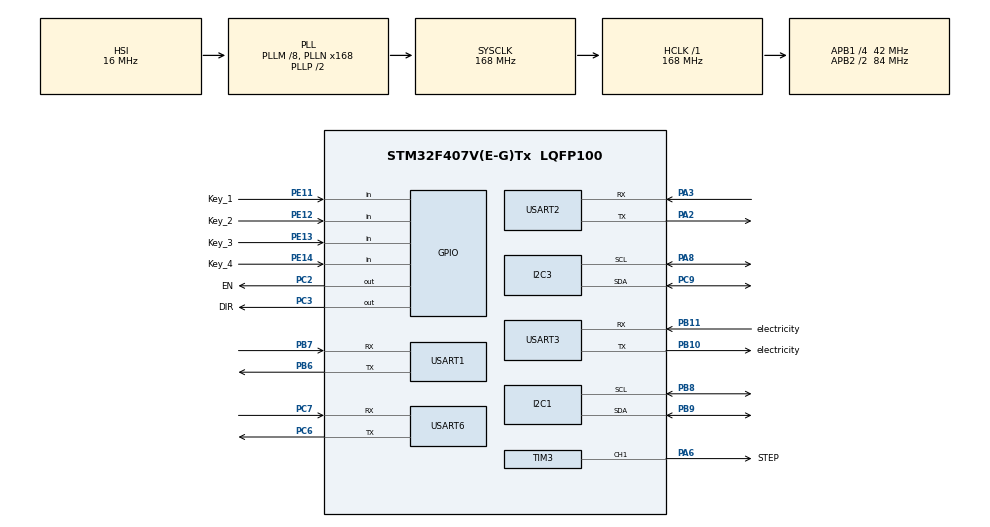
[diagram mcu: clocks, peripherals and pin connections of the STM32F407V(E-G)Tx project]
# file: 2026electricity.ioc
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Dma.Request0=USART1_RX
Dma.Request1=USART1_TX
Dma.Request2=USART2_TX
Dma.Request3=USART2_RX
Dma.Request4=USART3_RX
Dma.Request5=USART3_TX
Dma.Request6=USART6_RX
Dma.Request7=USART6_TX
Dma.USART1_RX.0.Direction=DMA_PERIPH_TO_MEMORY
Dma.USART1_RX.0.FIFOMode=DMA_FIFOMODE_DISABLE
Dma.USART1_RX.0.Instance=DMA2_Stream2
Dma.USART1_RX.0.MemDataAlignment=DMA_MDATAALIGN_BYTE
Dma.USART1_RX.0.MemInc=DMA_MINC_ENABLE
Dma.USART1_RX.0.Mode=DMA_CIRCULAR
Dma.USART1_RX.0.PeriphDataAlignment=DMA_PDATAALIGN_BYTE
Dma.USART1_RX.0.PeriphInc=DMA_PINC_DISABLE
Dma.USART1_RX.0.Priority=DMA_PRIORITY_LOW
Dma.USART1_TX.1.Direction=DMA_MEMORY_TO_PERIPH
Dma.USART1_TX.1.FIFOMode=DMA_FIFOMODE_DISABLE
Dma.USART1_TX.1.Instance=DMA2_Stream7
Dma.USART1_TX.1.MemDataAlignment=DMA_MDATAALIGN_BYTE
Dma.USART1_TX.1.MemInc=DMA_MINC_ENABLE
Dma.USART1_TX.1.Mode=DMA_NORMAL
Dma.USART1_TX.1.PeriphDataAlignment=DMA_PDATAALIGN_BYTE
Dma.USART1_TX.1.PeriphInc=DMA_PINC_DISABLE
Dma.USART1_TX.1.Priority=DMA_PRIORITY_LOW
Dma.USART2_RX.3.Direction=DMA_PERIPH_TO_MEMORY
Dma.USART2_RX.3.FIFOMode=DMA_FIFOMODE_DISABLE
Dma.USART2_RX.3.Instance=DMA1_Stream5
Dma.USART2_RX.3.MemDataAlignment=DMA_MDATAALIGN_BYTE
Dma.USART2_RX.3.MemInc=DMA_MINC_ENABLE
Dma.USART2_RX.3.Mode=DMA_CIRCULAR
Dma.USART2_RX.3.PeriphDataAlignment=DMA_PDATAALIGN_BYTE
Dma.USART2_RX.3.PeriphInc=DMA_PINC_DISABLE
Dma.USART2_RX.3.Priority=DMA_PRIORITY_LOW
Dma.USART2_TX.2.Direction=DMA_MEMORY_TO_PERIPH
Dma.USART2_TX.2.FIFOMode=DMA_FIFOMODE_DISABLE
Dma.USART2_TX.2.Instance=DMA1_Stream6
Dma.USART2_TX.2.MemDataAlignment=DMA_MDATAALIGN_BYTE
Dma.USART2_TX.2.MemInc=DMA_MINC_ENABLE
Dma.USART2_TX.2.Mode=DMA_NORMAL
Dma.USART2_TX.2.PeriphDataAlignment=DMA_PDATAALIGN_BYTE
Dma.USART2_TX.2.PeriphInc=DMA_PINC_DISABLE
Dma.USART2_TX.2.Priority=DMA_PRIORITY_LOW
Dma.USART3_RX.4.Direction=DMA_PERIPH_TO_MEMORY
Dma.USART3_RX.4.FIFOMode=DMA_FIFOMODE_DISABLE
Dma.USART3_RX.4.Instance=DMA1_Stream1
Dma.USART3_RX.4.MemDataAlignment=DMA_MDATAALIGN_BYTE
Dma.USART3_RX.4.MemInc=DMA_MINC_ENABLE
Dma.USART3_RX.4.Mode=DMA_CIRCULAR
Dma.USART3_RX.4.PeriphDataAlignment=DMA_PDATAALIGN_BYTE
Dma.USART3_RX.4.PeriphInc=DMA_PINC_DISABLE
Dma.USART3_RX.4.Priority=DMA_PRIORITY_LOW
Dma.USART3_TX.5.Direction=DMA_MEMORY_TO_PERIPH
Dma.USART3_TX.5.FIFOMode=DMA_FIFOMODE_DISABLE
Dma.USART3_TX.5.Instance=DMA1_Stream3
Dma.USART3_TX.5.MemDataAlignment=DMA_MDATAALIGN_BYTE
Dma.USART3_TX.5.MemInc=DMA_MINC_ENABLE
Dma.USART3_TX.5.Mode=DMA_NORMAL
Dma.USART3_TX.5.PeriphDataAlignment=DMA_PDATAALIGN_BYTE
Dma.USART3_TX.5.PeriphInc=DMA_PINC_DISABLE
Dma.USART3_TX.5.Priority=DMA_PRIORITY_LOW
Dma.USART6_RX.6.Direction=DMA_PERIPH_TO_MEMORY
Dma.USART6_RX.6.FIFOMode=DMA_FIFOMODE_DISABLE
Dma.USART6_RX.6.Instance=DMA2_Stream1
Dma.USART6_RX.6.MemDataAlignment=DMA_MDATAALIGN_BYTE
Dma.USART6_RX.6.MemInc=DMA_MINC_ENABLE
Dma.USART6_RX.6.Mode=DMA_CIRCULAR
Dma.USART6_RX.6.PeriphDataAlignment=DMA_PDATAALIGN_BYTE
Dma.USART6_RX.6.PeriphInc=DMA_PINC_DISABLE
Dma.USART6_RX.6.Priority=DMA_PRIORITY_LOW
Dma.USART6_TX.7.Direction=DMA_MEMORY_TO_PERIPH
Dma.USART6_TX.7.FIFOMode=DMA_FIFOMODE_DISABLE
Dma.USART6_TX.7.Instance=DMA2_Stream6
Dma.USART6_TX.7.MemDataAlignment=DMA_MDATAALIGN_BYTE
Dma.USART6_TX.7.MemInc=DMA_MINC_ENABLE
Dma.USART6_TX.7.Mode=DMA_NORMAL
Dma.USART6_TX.7.PeriphDataAlignment=DMA_PDATAALIGN_BYTE
Dma.USART6_TX.7.PeriphInc=DMA_PINC_DISABLE
Dma.USART6_TX.7.Priority=DMA_PRIORITY_LOW
Mcu.Family=STM32F4
Mcu.Name=STM32F407V(E-G)Tx
Mcu.Package=LQFP100
NVIC.DMA1_Stream1_IRQn=true\:0\:0\:false\:false\:true\:false\:true\:true
NVIC.DMA1_Stream3_IRQn=true\:0\:0\:false\:false\:true\:false\:true\:true
NVIC.DMA1_Stream5_IRQn=true\:0\:0\:false\:false\:true\:false\:true\:true
NVIC.DMA1_Stream6_IRQn=true\:0\:0\:false\:false\:true\:false\:true\:true
NVIC.DMA2_Stream1_IRQn=true\:0\:0\:false\:false\:true\:false\:true\:true
NVIC.DMA2_Stream2_IRQn=true\:0\:0\:false\:false\:true\:false\:true\:true
NVIC.DMA2_Stream6_IRQn=true\:0\:0\:false\:false\:true\:false\:true\:true
NVIC.DMA2_Stream7_IRQn=true\:0\:0\:false\:false\:true\:false\:true\:true
NVIC.PriorityGroup=NVIC_PRIORITYGROUP_4
NVIC.USART1_IRQn=true\:0\:0\:false\:false\:true\:true\:true\:true
NVIC.USART2_IRQn=true\:0\:0\:false\:false\:true\:true\:true\:true
NVIC.USART3_IRQn=true\:0\:0\:false\:false\:true\:true\:true\:true
NVIC.USART6_IRQn=true\:0\:0\:false\:false\:true\:true\:true\:true
PA13.Mode=Serial_Wire
PA13.Signal=SYS_JTMS-SWDIO
PA14.Mode=Serial_Wire
PA14.Signal=SYS_JTCK-SWCLK
PA2.Mode=Asynchronous
PA2.Signal=USART2_TX
PA3.Mode=Asynchronous
PA3.Signal=USART2_RX
PA6.GPIO_Label=STEP
PA6.GPIO_Speed=GPIO_SPEED_FREQ_HIGH
PA6.Signal=S_TIM3_CH1
PA8.Mode=I2C
PA8.Signal=I2C3_SCL
PB10.GPIO_Label=electricity
PB10.Mode=Asynchronous
PB10.Signal=USART3_TX
PB11.GPIO_Label=electricity
PB11.Mode=Asynchronous
PB11.Signal=USART3_RX
PB6.Mode=Asynchronous
PB6.Signal=USART1_TX
PB7.Mode=Asynchronous
PB7.Signal=USART1_RX
PB8.Mode=I2C
PB8.Signal=I2C1_SCL
PB9.Mode=I2C
PB9.Signal=I2C1_SDA
PC2.GPIO_Label=EN
PC2.Signal=GPIO_Output
PC3.GPIO_Label=DIR
PC3.Signal=GPIO_Output
PC6.Mode=Asynchronous
PC6.Signal=USART6_TX
PC7.Mode=Asynchronous
PC7.Signal=USART6_RX
PC9.Mode=I2C
PC9.Signal=I2C3_SDA
PE11.GPIO_Label=Key_1
PE11.GPIO_Mode=GPIO_MODE_INPUT
PE11.GPIO_PuPd=GPIO_PULLUP
PE11.Signal=GPIO_Input
PE12.GPIO_Label=Key_2
PE12.GPIO_Mode=GPIO_MODE_INPUT
PE12.GPIO_PuPd=GPIO_PULLUP
PE12.Signal=GPIO_Input
PE13.GPIO_Label=Key_3
PE13.GPIO_PuPd=GPIO_PULLUP
PE13.Signal=GPIO_Input
PE14.GPIO_Label=Key_4
PE14.GPIO_PuPd=GPIO_PULLUP
PE14.Signal=GPIO_Input
ProjectManager.HeapSize=0x200
ProjectManager.StackSize=0x400
ProjectManager.TargetToolchain=CMake
RCC.48MHZClocksFreq_Value=84000000
RCC.AHBFreq_Value=168000000
RCC.APB1CLKDivider=RCC_HCLK_DIV4
RCC.APB1Freq_Value=42000000
RCC.APB1TimFreq_Value=84000000
RCC.APB2CLKDivider=RCC_HCLK_DIV2
RCC.APB2Freq_Value=84000000
RCC.APB2TimFreq_Value=168000000
RCC.CortexFreq_Value=168000000
RCC.HCLKFreq_Value=168000000
RCC.HSE_VALUE=25000000
RCC.HSI_VALUE=16000000
RCC.LSE_VALUE=32768
RCC.PLLM=8
RCC.PLLN=168
RCC.SYSCLKFreq_VALUE=168000000
RCC.SYSCLKSource=RCC_SYSCLKSOURCE_PLLCLK
RCC.VCOOutputFreq_Value=336000000
SH.S_TIM3_CH1.0=TIM3_CH1,PWM Generation1 CH1
TIM3.Channel-PWM\ Generation1\ CH1=TIM_CHANNEL_1
TIM3.Period=100-1
TIM3.Prescaler=168-1
TIM3.Pulse-PWM\ Generation1\ CH1=500
USART1.VirtualMode=VM_ASYNC
USART2.VirtualMode=VM_ASYNC
USART3.VirtualMode=VM_ASYNC
USART6.VirtualMode=VM_ASYNC
VP_TIM3_VS_ClockSourceINT.Mode=Internal
board=custom

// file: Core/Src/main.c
/* USER CODE BEGIN Header */
/**
  ******************************************************************************
  * @file           : main.c
  * @brief          : Main program body
  ******************************************************************************
  * @attention
  *
  * Copyright (c) 2026 STMicroelectronics.
  * All rights reserved.
  *
  * This software is licensed under terms that can be found in the LICENSE file
  * in the root directory of this software component.
  * If no LICENSE file comes with this software, it is provided AS-IS.
  *
  ******************************************************************************
  */
/* USER CODE END Header */
#include "main.h"
#include "dma.h"
#include "i2c.h"
#include "tim.h"
#include "usart.h"
#include "gpio.h"

/* USER CODE BEGIN Includes */

#include "bsp_bluetooth.h"
#include "bsp_uart_dma.h"
#include "ball_observation_protocol.h"
#include "chassis_feedforward_protocol.h"
#include "pitch_axis_self_test.h"
#include "pitch_axis_self_test_telemetry.h"
#include "pitch_axis_velocity_test.h"
#include "pitch_axis_velocity_test_telemetry.h"
#include "pitch_axis_vision_control.h"
#include "pitch_axis_vision_telemetry.h"
#include "pitch_pid_debug.h"
#include "pitch_status_display.h"
#include "pitch_task_controller.h"
#include "x42s_driver.h"

#include <stdio.h>
#include <string.h>

/* USER CODE END Includes */

/* USER CODE BEGIN PV */

static BspBluetooth bluetooth_port;
static volatile BspBluetoothResult bluetooth_init_result;
static volatile BspBluetoothResult bluetooth_start_result;
static BspUartDmaPort vision_port;
static BspUartDmaResult vision_init_result;
static BspUartDmaResult vision_start_result;
static BallObservationParser vision_parser;
static BspUartDmaPort chassis_port;
static BspUartDmaResult chassis_init_result;
static BspUartDmaResult chassis_start_result;
static ChassisFeedforwardParser chassis_parser;
static ChassisFeedforwardSample chassis_sample;
static ChassisFeedforwardEstimate chassis_estimate;
static uint32_t chassis_last_report_ms;
static PitchAxisVisionControl pitch_vision_control;
static PitchAxisVisionTelemetry pitch_vision_telemetry;
static bool pitch_vision_initialized;
static X42sDriver pitch_x42;
static X42sDriverResult pitch_x42_init_result;
static X42sDriverResult pitch_x42_start_result = X42S_DRIVER_NOT_STARTED;
static PitchAxisSelfTest pitch_self_test;
static PitchAxisSelfTestResult pitch_self_test_init_result =
    PITCH_AXIS_SELF_TEST_NOT_READY;
static PitchAxisSelfTestResult pitch_self_test_start_result =
    PITCH_AXIS_SELF_TEST_NOT_READY;
static PitchAxisSelfTestTelemetry pitch_self_test_telemetry;
static PitchAxisVelocityTest pitch_velocity_test;
static PitchAxisVelocityTestTelemetry pitch_velocity_test_telemetry;
static bool pitch_velocity_test_initialized;
static PitchPidDebug pitch_pid_debug;
static bool pitch_pid_debug_initialized;
static PitchTaskController pitch_task_controller;
static bool pitch_task_controller_initialized;
static PitchStatusDisplay pitch_status_display;
static bool pitch_status_display_initialized;
static const PitchAxisVelocityTestConfig pitch_velocity_test_config = {
    .address = X42S_DEFAULT_ADDRESS,
    .positive_direction = 0U,
    .negative_direction = 1U,
    .speed_rpm = 10U,
    /* ZDT defines acc=0 as direct start. Closed-loop braking needs the
     * velocity reversal to reach the motor without an extra ramp. */
    .acceleration = 0U,
    .run_ms = 300U,
    .synchronize = false,
    .debounce_ms = 20U,
    .automatic_max_speed_rpm = 120U,
    /* The final self-test position is the relative mechanical zero. Direction
     * 0 increased the raw position in the measured key test. */
    .automatic_position_tracking_enabled = true,
    .automatic_direction0_increases_raw = true,
    /* Estimated from 65536 raw/rev and the measured 2 mm screw lead. */
    .automatic_position_raw_per_mm = 32768U,
    .automatic_tilt_scale_um_per_outer_rpm = 230U,
    .automatic_tilt_limit_um = 3900U,
    .automatic_position_deadband_um = 80U,
    .automatic_position_slow_zone_um = 600U,
    .automatic_position_min_speed_rpm = 3U,
    .automatic_position_poll_period_ms = 20U,
    .automatic_decision_timeout_ms = 500U,
    /* Hold the last accepted target briefly on a bad frame; continuous loss
     * still disarms and stops after the grace period. */
    .automatic_vision_loss_grace_ms = 1200U,
    .automatic_edge_recovery_enabled = false,
    .automatic_edge_recovery_speed_rpm = 20U,
    /* Stop and acknowledge every pulse, then retry until vision returns. */
    .automatic_edge_recovery_max_ms = 1500U,
    /* The operator owns stop/escape handling during this full-auto trial. */
    .automatic_motion_budget_ms = 0U
};
static const PitchAxisVisionConfig pitch_vision_config = {
    /* Measured after locking the MaixCAM pipe geometry with the R control. */
    .target_position_0_1mm = -50,
    .minimum_safe_position_0_1mm = -1250,
    .maximum_safe_position_0_1mm = 1250,
    .edge_recovery_margin_0_1mm = 400,
    .deadband_0_1mm = 20,
    .velocity_deadband_0_1mm_s = 50,
    /* The camera must mark a detection valid, then this second gate rejects
     * weak detections before they can become an EMM command candidate. */
    .minimum_confidence_permille = 350U,
    .maximum_observation_age_ms = 150U,
    /* 30 FPS vision produces a new observation about every 33 ms. A 30 ms
     * service gate consumes each new frame without reusing old data. */
    .control_period_ms = 30U,
    .minimum_speed_rpm = 1U,
    .maximum_speed_rpm = 30U,
    .kp_rpm_per_mm = 0.40f,
    .ki_rpm_per_mm_s = 0.0f,
    .kd_rpm_per_mm_s = 0.10f,
    .integral_limit_rpm = 0.0f,
    .integral_separation_band_0_1mm = 250,
    /* Begin braking inside 30 mm; 1 RPM was too weak to overcome friction. */
    .approach_band_0_1mm = 300,
    .approach_speed_limit_rpm = 6U,
    .velocity_filter_alpha = 0.25f,
    .positive_error_uses_positive_direction = true,
    /* Chassis feedforward is present but locked at zero until the
     * acceleration sign and pitch response are measured on the real car. */
    .feedforward_enabled = true,
    .feedforward_sign = 1,
    .feedforward_gain_rpm_per_mm_s2 = 0.0f,
    .feedforward_limit_rpm = 5.0f,
    .feedforward_deadband_mm_s2 = 80.0f
};
static const PitchTaskControllerConfig pitch_task_config = {
    /* MaixCAM reports the measured pipe centre at about -5.0 mm. */
    .center_position_0_1mm = -50,
    /* Requirement 3: O -> +5 cm -> -5 cm. */
    .task3_offset_0_1mm = 450U,
    .task3_tolerance_0_1mm = 100U,
    /* Do not reverse while the ball is merely crossing the target window. */
    .task3_velocity_limit_0_1mm_s = 100U,
    .task3_turnaround_dwell_ms = 100U,
    .position_hold_tilt_limit_um = 3900U,
    .task3_tilt_limit_um = 4200U,
    .button_debounce_ms = 20U,
    .task3_pid_profiles = {
        {
            .kp_rpm_per_mm = 0.35f,
            .ki_rpm_per_mm_s = 0.020f,
            .kd_rpm_per_mm_s = 0.120f,
            .integral_limit_rpm = 3.0f,
            .integral_separation_band_0_1mm = 300,
            .velocity_filter_alpha = 0.25f,
            .approach_band_0_1mm = 800,
            .approach_speed_limit_rpm = 8U,
            .maximum_speed_rpm = 16U,
            .task3_tilt_limit_um = 4000U
        },
        {
            .kp_rpm_per_mm = 0.35f,
            .ki_rpm_per_mm_s = 0.020f,
            .kd_rpm_per_mm_s = 0.120f,
            .integral_limit_rpm = 3.0f,
            .integral_separation_band_0_1mm = 300,
            .velocity_filter_alpha = 0.25f,
            .approach_band_0_1mm = 600,
            .approach_speed_limit_rpm = 10U,
            .maximum_speed_rpm = 18U,
            .task3_tilt_limit_um = 4200U
        },
        {
            .kp_rpm_per_mm = 0.40f,
            .ki_rpm_per_mm_s = 0.015f,
            .kd_rpm_per_mm_s = 0.100f,
            .integral_limit_rpm = 2.5f,
            .integral_separation_band_0_1mm = 350,
            .velocity_filter_alpha = 0.30f,
            .approach_band_0_1mm = 450,
            .approach_speed_limit_rpm = 12U,
            .maximum_speed_rpm = 20U,
            .task3_tilt_limit_um = 4400U
        }
    }
};

static bool PitchFeedforwardTaskEnabled(PitchTaskId task)
{
    return (task == PITCH_TASK_4) ||
           (task == PITCH_TASK_5) ||
           (task == PITCH_TASK_6);
}

static void PitchFeedforward_Report(
    uint32_t now_ms,
    const PitchTaskControllerReport *task_report)
{
    char text[220];
    PitchAxisVisionReport vision_report;
    bool task_enabled = (task_report != NULL) &&
        PitchFeedforwardTaskEnabled(task_report->selected_task);
    bool fresh = ChassisFeedforward_IsFresh(&chassis_sample, now_ms);
    bool input_valid = task_enabled && fresh && chassis_estimate.valid &&
        ((chassis_sample.flags &
          CHASSIS_FEEDFORWARD_FLAG_COMMAND_VALID) != 0U);
    bool ff_valid = PitchAxisVisionControl_GetReport(
        &pitch_vision_control, &vision_report) &&
        vision_report.feedforward_valid;

    if ((uint32_t)(now_ms - chassis_last_report_ms) < 500U)
    {
        return;
    }
    chassis_last_report_ms = now_ms;
    (void)snprintf(
        text,
        sizeof(text),
        "PITCH_FF,task=%u,gate=%u,input=%u,ff_valid=%u,fresh=%u,flags=0x%04X,frames=%lu,seq=%u,cmd=%d,imu=%d,est=%d,est_valid=%d,crc=%lu,fmt=%lu\r\n",
        (unsigned int)((task_report != NULL) ? task_report->selected_task : 0U),
        task_enabled ? 1U : 0U,
        input_valid ? 1U : 0U,
        ff_valid ? 1U : 0U,
        fresh ? 1U : 0U,
        (unsigned int)chassis_sample.flags,
        (unsigned long)chassis_parser.accepted_frame_count,
        (unsigned int)chassis_sample.sequence,
        (int)chassis_sample.command_accel_mm_s2,
        (int)chassis_sample.imu_accel_mm_s2,
        (int)chassis_estimate.estimated_accel_mm_s2,
        (int)chassis_estimate.valid,
        (unsigned long)chassis_parser.crc_error_count,
        (unsigned long)chassis_parser.format_error_count);
    (void)BspBluetooth_WriteString(&bluetooth_port, text);
}

/* USER CODE END PV */

void SystemClock_Config(void);

int main(void)
{

  /* MCU Configuration--------------------------------------------------------*/

  /* Reset of all peripherals, Initializes the Flash interface and the Systick. */
  HAL_Init();

  /* Configure the system clock */
  SystemClock_Config();

  /* Initialize all configured peripherals */
  MX_GPIO_Init();
  MX_DMA_Init();
  MX_I2C1_Init();
  MX_I2C3_Init();
  MX_TIM3_Init();
  MX_USART1_UART_Init();
  MX_USART2_UART_Init();
  MX_USART3_UART_Init();
  MX_USART6_UART_Init();
  /* USER CODE BEGIN 2 */

  bluetooth_init_result = BspBluetooth_Init(&bluetooth_port, &huart1);
  if (bluetooth_init_result == BSP_BLUETOOTH_OK)
  {
    bluetooth_start_result = BspBluetooth_Start(&bluetooth_port);
    if (bluetooth_start_result == BSP_BLUETOOTH_OK)
    {
      (void)BspBluetooth_WriteString(&bluetooth_port, "BT_DMA_READY\r\n");
    }
  }

  vision_init_result = BspUartDma_Init(&vision_port, &huart6);
  if (vision_init_result == BSP_UART_DMA_OK)
  {
    vision_start_result = BspUartDma_Start(&vision_port);
  }
  BallObservationParser_Init(&vision_parser);
  pitch_vision_initialized = PitchAxisVisionControl_Init(
      &pitch_vision_control,
      &pitch_vision_config,
      HAL_GetTick());
  if ((vision_init_result == BSP_UART_DMA_OK) &&
      (vision_start_result == BSP_UART_DMA_OK) &&
      pitch_vision_initialized)
  {
    (void)PitchAxisVisionTelemetry_Init(
        &pitch_vision_telemetry,
        &bluetooth_port,
        &vision_port,
        &vision_parser,
        &pitch_vision_control,
        HAL_GetTick());
    (void)BspBluetooth_WriteString(&bluetooth_port, "VISION_UART_DMA_READY\r\n");
  }
  else
  {
    (void)BspBluetooth_WriteString(&bluetooth_port, "VISION_INIT_ERROR\r\n");
  }

  /* USART2 is the one-way master-to-pitch link. Its RX DMA is kept separate
   * from MaixCAM USART6 and X42S USART3, so a bad chassis frame cannot block
   * vision reception or motor commands. */
  chassis_init_result = BspUartDma_Init(&chassis_port, &huart2);
  if (chassis_init_result == BSP_UART_DMA_OK)
  {
    chassis_start_result = BspUartDma_Start(&chassis_port);
  }
  ChassisFeedforwardParser_Init(&chassis_parser);
  if ((chassis_init_result == BSP_UART_DMA_OK) &&
      (chassis_start_result == BSP_UART_DMA_OK))
  {
    (void)BspBluetooth_WriteString(&bluetooth_port, "CHASSIS_UART_DMA_READY\r\n");
  }
  else
  {
    (void)BspBluetooth_WriteString(&bluetooth_port, "CHASSIS_UART_DMA_ERROR\r\n");
  }

  pitch_x42_init_result = X42sDriver_Init(&pitch_x42, &huart3);
  if (pitch_x42_init_result == X42S_DRIVER_OK)
  {
    pitch_x42_start_result = X42sDriver_Start(&pitch_x42);
  }

  pitch_velocity_test_initialized = PitchAxisVelocityTest_Init(
      &pitch_velocity_test,
      &pitch_x42,
      &pitch_velocity_test_config,
      HAL_GetTick());
  if (pitch_velocity_test_initialized)
  {
    (void)PitchAxisVelocityTestTelemetry_Init(
        &pitch_velocity_test_telemetry,
        &pitch_velocity_test,
        &bluetooth_port,
        HAL_GetTick());
  }

  if (pitch_x42_start_result == X42S_DRIVER_OK)
  {
    pitch_self_test_init_result = PitchAxisSelfTest_Init(
        &pitch_self_test,
        &pitch_x42,
        X42S_DEFAULT_ADDRESS,
        PITCH_AXIS_SELF_TEST_DEFAULT_CYCLES,
        PITCH_AXIS_SELF_TEST_DEFAULT_PERIOD_MS,
        PITCH_AXIS_SELF_TEST_DEFAULT_START_DELAY_MS);
    if (pitch_self_test_init_result == PITCH_AXIS_SELF_TEST_OK)
    {
      pitch_self_test_start_result = PitchAxisSelfTest_Start(
          &pitch_self_test,
          HAL_GetTick());
    }
  }

  if ((pitch_self_test_start_result != PITCH_AXIS_SELF_TEST_OK) ||
      !PitchAxisSelfTestTelemetry_Init(
          &pitch_self_test_telemetry,
          &pitch_self_test,
          &bluetooth_port))
  {
    (void)BspBluetooth_WriteString(
        &bluetooth_port,
        "PITCH_READ1000_INIT_ERROR\r\n");
  }

  if (!pitch_velocity_test_initialized)
  {
    (void)BspBluetooth_WriteString(
        &bluetooth_port,
        "PITCH_VELOCITY_TEST_INIT_ERROR\r\n");
  }
  else if (pitch_self_test_start_result != PITCH_AXIS_SELF_TEST_OK)
  {
    PitchAxisVelocityTest_SetCommunicationResult(
        &pitch_velocity_test,
        false,
           HAL_GetTick());
  }

  pitch_task_controller_initialized = pitch_vision_initialized &&
      pitch_velocity_test_initialized &&
      PitchTaskController_Init(
          &pitch_task_controller,
          &pitch_vision_control,
          &pitch_velocity_test,
          &pitch_task_config,
          HAL_GetTick());
  if (!pitch_task_controller_initialized)
  {
    (void)BspBluetooth_WriteString(
        &bluetooth_port,
        "PITCH_TASK_INIT_ERROR\r\n");
  }

  pitch_status_display_initialized = PitchStatusDisplay_Init(
      &pitch_status_display,
      &hi2c1,
      PITCH_STATUS_DISPLAY_DEFAULT_ADDRESS_7BIT,
      &pitch_task_controller,
      &pitch_self_test,
      &pitch_vision_control,
      &pitch_velocity_test,
      HAL_GetTick());

  pitch_pid_debug_initialized = PitchPidDebug_Init(
      &pitch_pid_debug,
      &bluetooth_port,
      &pitch_vision_control,
      &pitch_velocity_test,
      pitch_task_controller_initialized ? &pitch_task_controller : NULL,
      HAL_GetTick());

  /* USER CODE END 2 */

  /* Infinite loop */
  while (1)
  {

    /* USER CODE BEGIN 3 */

    uint8_t vision_rx_data[64];
    uint8_t chassis_rx_data[64];
    size_t vision_read_length;
    size_t vision_index;
    size_t chassis_read_length;
    size_t chassis_index;
    uint32_t now_ms;
    PitchAxisVelocityTestButtons buttons;
    PitchAxisVelocityTestButtons safety_buttons;
    PitchAxisSelfTestState self_test_state;
    BallObservation observation;
    PitchAxisVisionReport vision_report;
    PitchAxisAutomaticDecision automatic_decision;
    PitchTaskControllerReport task_report;
    bool chassis_feedforward_allowed = false;

    now_ms = HAL_GetTick();
    BspBluetooth_Service(&bluetooth_port);
    BspUartDma_Service(&vision_port);
    BspUartDma_Service(&chassis_port);
    buttons.key1_pressed =
        (HAL_GPIO_ReadPin(Key_1_GPIO_Port, Key_1_Pin) == GPIO_PIN_RESET);
    buttons.key2_pressed =
        (HAL_GPIO_ReadPin(Key_2_GPIO_Port, Key_2_Pin) == GPIO_PIN_RESET);
    buttons.key3_pressed =
        (HAL_GPIO_ReadPin(Key_3_GPIO_Port, Key_3_Pin) == GPIO_PIN_RESET);
    buttons.key4_pressed =
        (HAL_GPIO_ReadPin(Key_4_GPIO_Port, Key_4_Pin) == GPIO_PIN_RESET);
    memset(&safety_buttons, 0, sizeof(safety_buttons));
    safety_buttons.key4_pressed = buttons.key4_pressed;

    do
    {
      vision_read_length = BspUartDma_Read(
          &vision_port,
          vision_rx_data,
          sizeof(vision_rx_data));
      for (vision_index = 0U; vision_index < vision_read_length; ++vision_index)
      {
        if (BallObservationParser_OnByte(
                &vision_parser,
                vision_rx_data[vision_index],
                now_ms,
                &observation))
        {
          PitchAxisVisionControl_OnObservation(
              &pitch_vision_control,
              &observation);
        }
      }
    } while (vision_read_length == sizeof(vision_rx_data));
    do
    {
      chassis_read_length = BspUartDma_Read(
          &chassis_port,
          chassis_rx_data,
          sizeof(chassis_rx_data));
      for (chassis_index = 0U;
           chassis_index < chassis_read_length;
           ++chassis_index)
      {
        ChassisFeedforwardSample decoded_sample;

        if (ChassisFeedforwardParser_OnByte(
                &chassis_parser,
                chassis_rx_data[chassis_index],
                now_ms,
                &decoded_sample))
        {
          chassis_sample = decoded_sample;
          ChassisFeedforwardEstimate_Update(
              &chassis_estimate,
              &chassis_sample);
        }
      }
    } while (chassis_read_length == sizeof(chassis_rx_data));
    if (pitch_vision_initialized)
    {
      /* Resolve a button-driven task transition before applying FF. This
       * makes the T2/T3 exclusion effective in the same control period. */
      if (pitch_task_controller_initialized)
      {
        PitchTaskController_Service(
            &pitch_task_controller,
            buttons,
            now_ms);
      }
      if (pitch_task_controller_initialized &&
          PitchTaskController_GetReport(&pitch_task_controller, &task_report))
      {
        chassis_feedforward_allowed =
            PitchFeedforwardTaskEnabled(task_report.selected_task) &&
            ChassisFeedforward_IsFresh(&chassis_sample, now_ms) &&
            ((chassis_sample.flags &
              CHASSIS_FEEDFORWARD_FLAG_COMMAND_VALID) != 0U) &&
            chassis_estimate.valid;
      }
      /* T2/T3 never receive a valid FF input. T4/T5/T6 require a fresh,
       * CRC-checked command-acceleration frame; loss immediately falls back
       * to the existing vision PID alone. */
      PitchAxisVisionControl_SetFeedforwardInput(
          &pitch_vision_control,
          chassis_estimate.estimated_accel_mm_s2,
          chassis_feedforward_allowed);
      PitchAxisVisionControl_Service(&pitch_vision_control, now_ms);
      PitchAxisVisionTelemetry_Service(&pitch_vision_telemetry, now_ms);
      if (pitch_velocity_test_initialized &&
          PitchAxisVisionControl_TakeDecision(
              &pitch_vision_control,
              &vision_report))
      {
        memset(&automatic_decision, 0, sizeof(automatic_decision));
        automatic_decision.source_safe =
            (vision_report.state == PITCH_VISION_STATE_TRACKING) &&
            vision_report.observation_fresh;
        if (vision_report.ball_position_outside_limits)
        {
          automatic_decision.source_safe = false;
        }
        automatic_decision.motion_requested = vision_report.command_ready;
        /* This boolean is the calibrated EMM direction bit shown as dir=0/1
         * in the dry-run logs; do not remap it through the manual key names. */
        automatic_decision.motor_direction =
            vision_report.command_positive_direction ? 1U : 0U;
        automatic_decision.speed_rpm = vision_report.command_speed_rpm;
        automatic_decision.outer_control_0_01rpm =
            vision_report.control_output_0_01rpm;
        automatic_decision.edge_recovery_candidate =
            vision_report.edge_recovery_candidate;
        automatic_decision.edge_recovery_direction =
            vision_report.edge_recovery_direction ? 1U : 0U;
        automatic_decision.sequence = vision_report.decision_sequence;
        if (vision_report.ball_position_outside_limits)
        {
          automatic_decision.unsafe_reason =
              PITCH_AUTOMATIC_DISARM_BALL_ESCAPE;
        }
        else switch (vision_report.state)
        {
          case PITCH_VISION_STATE_REJECT_LOW_CONFIDENCE:
            automatic_decision.unsafe_reason =
                PITCH_AUTOMATIC_DISARM_VISION_LOW_CONFIDENCE;
            break;
          case PITCH_VISION_STATE_REJECT_STALE:
            automatic_decision.unsafe_reason =
                PITCH_AUTOMATIC_DISARM_VISION_STALE;
            break;
          case PITCH_VISION_STATE_REJECT_INVALID:
            automatic_decision.unsafe_reason =
                PITCH_AUTOMATIC_DISARM_VISION_INVALID;
            break;
          default:
            automatic_decision.unsafe_reason =
                PITCH_AUTOMATIC_DISARM_NONE;
            break;
        }
        PitchAxisVelocityTest_SubmitAutomaticDecision(
            &pitch_velocity_test,
            &automatic_decision,
            now_ms);
      }
      PitchFeedforward_Report(
          now_ms,
          pitch_task_controller_initialized ? &task_report : NULL);
    }

    if (pitch_velocity_test_initialized)
    {
      PitchAxisVelocityTest_Service(
          &pitch_velocity_test,
          now_ms,
          safety_buttons);
    }

    if (!pitch_velocity_test_initialized ||
        ((PitchAxisVelocityTest_GetState(&pitch_velocity_test) !=
          PITCH_VELOCITY_TEST_STATE_STOPPING) &&
         (PitchAxisVelocityTest_GetState(&pitch_velocity_test) !=
          PITCH_VELOCITY_TEST_STATE_FAULT_LATCHED)))
    {
      PitchAxisSelfTest_Service(&pitch_self_test, now_ms);
    }

    self_test_state = PitchAxisSelfTest_GetState(&pitch_self_test);
    if (pitch_velocity_test_initialized &&
        (self_test_state == PITCH_AXIS_SELF_TEST_STATE_COMM_PASS))
    {
      PitchAxisVelocityTest_SetCommunicationResult(
          &pitch_velocity_test,
          true,
          now_ms);
    }
    else if (pitch_velocity_test_initialized &&
             (self_test_state == PITCH_AXIS_SELF_TEST_STATE_FAILED))
    {
      PitchAxisVelocityTest_SetCommunicationResult(
          &pitch_velocity_test,
          false,
          now_ms);
    }

    PitchAxisSelfTestTelemetry_Service(&pitch_self_test_telemetry, now_ms);
    if (pitch_velocity_test_initialized)
    {
      PitchAxisVelocityTestTelemetry_Service(
          &pitch_velocity_test_telemetry,
          now_ms);
    }
    if (pitch_pid_debug_initialized)
    {
      PitchPidDebug_Service(&pitch_pid_debug, now_ms);
    }
    if (pitch_status_display_initialized)
    {
      PitchStatusDisplay_Service(&pitch_status_display, buttons, now_ms);
    }
  }
  /* USER CODE END 3 */
}

void SystemClock_Config(void)
{
  RCC_OscInitTypeDef RCC_OscInitStruct = {0};
  RCC_ClkInitTypeDef RCC_ClkInitStruct = {0};

  /** Configure the main internal regulator output voltage
  */
  __HAL_RCC_PWR_CLK_ENABLE();
  __HAL_PWR_VOLTAGESCALING_CONFIG(PWR_REGULATOR_VOLTAGE_SCALE1);

  /** Initializes the RCC Oscillators according to the specified parameters
  * in the RCC_OscInitTypeDef structure.
  */
  RCC_OscInitStruct.OscillatorType = RCC_OSCILLATORTYPE_HSI;
  RCC_OscInitStruct.HSIState = RCC_HSI_ON;
  RCC_OscInitStruct.HSICalibrationValue = RCC_HSICALIBRATION_DEFAULT;
  RCC_OscInitStruct.PLL.PLLState = RCC_PLL_ON;
  RCC_OscInitStruct.PLL.PLLSource = RCC_PLLSOURCE_HSI;
  RCC_OscInitStruct.PLL.PLLM = 8;
  RCC_OscInitStruct.PLL.PLLN = 168;
  RCC_OscInitStruct.PLL.PLLP = RCC_PLLP_DIV2;
  RCC_OscInitStruct.PLL.PLLQ = 4;
  if (HAL_RCC_OscConfig(&RCC_OscInitStruct) != HAL_OK)
  {
    Error_Handler();
  }

  /** Initializes the CPU, AHB and APB buses clocks
  */
  RCC_ClkInitStruct.ClockType = RCC_CLOCKTYPE_HCLK|RCC_CLOCKTYPE_SYSCLK
                              |RCC_CLOCKTYPE_PCLK1|RCC_CLOCKTYPE_PCLK2;
  RCC_ClkInitStruct.SYSCLKSource = RCC_SYSCLKSOURCE_PLLCLK;
  RCC_ClkInitStruct.AHBCLKDivider = RCC_SYSCLK_DIV1;
  RCC_ClkInitStruct.APB1CLKDivider = RCC_HCLK_DIV4;
  RCC_ClkInitStruct.APB2CLKDivider = RCC_HCLK_DIV2;

  if (HAL_RCC_ClockConfig(&RCC_ClkInitStruct, FLASH_LATENCY_5) != HAL_OK)
  {
    Error_Handler();
  }
}

void Error_Handler(void)
{
  __disable_irq();
  while (1)
  {
  }
}
